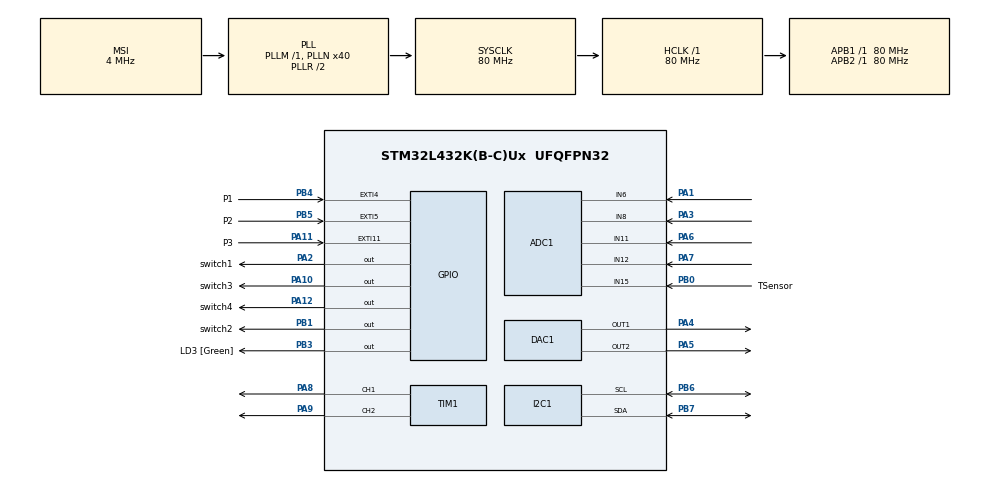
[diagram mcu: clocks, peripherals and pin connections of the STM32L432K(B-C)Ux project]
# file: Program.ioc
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ADC1.Channel-20\#ChannelRegularConversion=ADC_CHANNEL_6
ADC1.Channel-21\#ChannelRegularConversion=ADC_CHANNEL_8
ADC1.Channel-24\#ChannelRegularConversion=ADC_CHANNEL_11
ADC1.Channel-25\#ChannelRegularConversion=ADC_CHANNEL_12
ADC1.Channel-26\#ChannelRegularConversion=ADC_CHANNEL_15
ADC1.ClockPrescaler=ADC_CLOCK_ASYNC_DIV128
ADC1.ContinuousConvMode=ENABLE
ADC1.DMAContinuousRequests=ENABLE
ADC1.NbrOfConversion=5
ADC1.NbrOfConversionFlag=1
ADC1.OffsetNumber-20\#ChannelRegularConversion=ADC_OFFSET_NONE
ADC1.OffsetNumber-21\#ChannelRegularConversion=ADC_OFFSET_NONE
ADC1.OffsetNumber-24\#ChannelRegularConversion=ADC_OFFSET_NONE
ADC1.OffsetNumber-25\#ChannelRegularConversion=ADC_OFFSET_NONE
ADC1.OffsetNumber-26\#ChannelRegularConversion=ADC_OFFSET_NONE
ADC1.Rank-20\#ChannelRegularConversion=1
ADC1.Rank-21\#ChannelRegularConversion=2
ADC1.Rank-24\#ChannelRegularConversion=3
ADC1.Rank-25\#ChannelRegularConversion=4
ADC1.Rank-26\#ChannelRegularConversion=5
ADC1.SamplingTime-20\#ChannelRegularConversion=ADC_SAMPLETIME_247CYCLES_5
ADC1.SamplingTime-21\#ChannelRegularConversion=ADC_SAMPLETIME_247CYCLES_5
ADC1.SamplingTime-24\#ChannelRegularConversion=ADC_SAMPLETIME_247CYCLES_5
ADC1.SamplingTime-25\#ChannelRegularConversion=ADC_SAMPLETIME_247CYCLES_5
ADC1.SamplingTime-26\#ChannelRegularConversion=ADC_SAMPLETIME_640CYCLES_5
ADC1.master=1
DAC1.DAC_Channel-DAC_OUT2=DAC_CHANNEL_2
Dma.ADC1.0.Direction=DMA_PERIPH_TO_MEMORY
Dma.ADC1.0.Instance=DMA1_Channel1
Dma.ADC1.0.MemDataAlignment=DMA_MDATAALIGN_WORD
Dma.ADC1.0.MemInc=DMA_MINC_ENABLE
Dma.ADC1.0.Mode=DMA_CIRCULAR
Dma.ADC1.0.PeriphDataAlignment=DMA_PDATAALIGN_WORD
Dma.ADC1.0.PeriphInc=DMA_PINC_DISABLE
Dma.ADC1.0.Priority=DMA_PRIORITY_MEDIUM
Dma.Request0=ADC1
Mcu.Family=STM32L4
Mcu.Name=STM32L432K(B-C)Ux
Mcu.Package=UFQFPN32
NVIC.DMA1_Channel1_IRQn=true\:0\:0\:false\:false\:true\:false
NVIC.EXTI15_10_IRQn=true\:0\:0\:false\:false\:true\:true
NVIC.EXTI4_IRQn=true\:0\:0\:false\:false\:true\:true
NVIC.EXTI9_5_IRQn=true\:0\:0\:false\:false\:true\:true
NVIC.PriorityGroup=NVIC_PRIORITYGROUP_4
NVIC.TIM7_IRQn=true\:0\:0\:false\:false\:true\:true
PA0.GPIO_Label=MCO [High speed clock in]
PA0.Mode=HSE-External-Clock-Source-for-LittleOrca
PA0.Signal=RCC_CK_IN
PA1.Signal=ADCx_IN6
PA10.GPIO_Label=switch3
PA10.GPIO_PuPd=GPIO_PULLDOWN
PA10.Signal=GPIO_Output
PA11.GPIO_Label=P3
PA11.GPIO_ModeDefaultEXTI=GPIO_MODE_IT_FALLING
PA11.GPIO_PuPd=GPIO_PULLUP
PA11.Signal=GPXTI11
PA12.GPIO_Label=switch4
PA12.GPIO_PuPd=GPIO_PULLDOWN
PA12.Signal=GPIO_Output
PA13\ (JTMS-SWDIO).GPIO_Label=SWDIO
PA13\ (JTMS-SWDIO).Mode=Serial_Wire
PA13\ (JTMS-SWDIO).Signal=SYS_JTMS-SWDIO
PA14\ (JTCK-SWCLK).GPIO_Label=SWCLK
PA14\ (JTCK-SWCLK).Mode=Serial_Wire
PA14\ (JTCK-SWCLK).Signal=SYS_JTCK-SWCLK
PA2.GPIO_Label=switch1
PA2.Signal=GPIO_Output
PA3.Signal=ADCx_IN8
PA4.Signal=COMP_DAC11_group
PA5.Signal=COMP_DAC12_group
PA6.Signal=ADCx_IN11
PA7.Signal=ADCx_IN12
PA8.Signal=S_TIM1_CH1
PA9.Signal=S_TIM1_CH2
PB0.GPIO_Label=TSensor
PB0.Signal=ADCx_IN15
PB1.GPIO_Label=switch2
PB1.GPIO_PuPd=GPIO_PULLDOWN
PB1.Signal=GPIO_Output
PB3\ (JTDO-TRACESWO).GPIO_Label=LD3 [Green]
PB3\ (JTDO-TRACESWO).Signal=GPIO_Output
PB4\ (NJTRST).GPIO_Label=P1
PB4\ (NJTRST).GPIO_ModeDefaultEXTI=GPIO_MODE_IT_FALLING
PB4\ (NJTRST).GPIO_PuPd=GPIO_PULLUP
PB4\ (NJTRST).Signal=GPXTI4
PB5.GPIO_Label=P2
PB5.GPIO_ModeDefaultEXTI=GPIO_MODE_IT_FALLING
PB5.GPIO_PuPd=GPIO_PULLUP
PB5.Signal=GPXTI5
PB6.Mode=I2C
PB6.Signal=I2C1_SCL
PB7.Mode=I2C
PB7.Signal=I2C1_SDA
PC14-OSC32_IN\ (PC14).Mode=LSE-External-Oscillator
PC14-OSC32_IN\ (PC14).Signal=RCC_OSC32_IN
PC15-OSC32_OUT\ (PC15).Mode=LSE-External-Oscillator
PC15-OSC32_OUT\ (PC15).Signal=RCC_OSC32_OUT
ProjectManager.HeapSize=0x200
ProjectManager.StackSize=0x400
ProjectManager.TargetToolchain=TrueSTUDIO
RCC.ADCFreq_Value=32000000
RCC.AHBFreq_Value=80000000
RCC.APB1Freq_Value=80000000
RCC.APB1TimFreq_Value=80000000
RCC.APB2Freq_Value=80000000
RCC.APB2TimFreq_Value=80000000
RCC.CortexFreq_Value=80000000
RCC.HCLKFreq_Value=80000000
RCC.HSE_VALUE=8000000
RCC.HSI16_VALUE=16000000
RCC.HSI48_VALUE=48000000
RCC.HSI_VALUE=16000000
RCC.MSI_VALUE=4000000
RCC.PLLMUL=RCC_PLLMUL_4
RCC.PLLN=40
RCC.PLLSAI1N=16
RCC.SYSCLKFreq_VALUE=80000000
RCC.SYSCLKSource=RCC_SYSCLKSOURCE_PLLCLK
RCC.USBFreq_Value=32000000
RCC.VCOOutputFreq_Value=160000000
SH.ADCx_IN11.0=ADC1_IN11,IN11-Single-Ended
SH.ADCx_IN12.0=ADC1_IN12,IN12-Single-Ended
SH.ADCx_IN15.0=ADC1_IN15,IN15-Single-Ended
SH.ADCx_IN6.0=ADC1_IN6,IN6-Single-Ended
SH.ADCx_IN8.0=ADC1_IN8,IN8-Single-Ended
SH.COMP_DAC11_group.0=DAC1_OUT1,DAC_OUT1
SH.COMP_DAC12_group.0=DAC1_OUT2,DAC_OUT2
SH.S_TIM1_CH1.0=TIM1_CH1,PWM Generation1 CH1
SH.S_TIM1_CH2.0=TIM1_CH2,PWM Generation2 CH2
TIM1.Channel-PWM\ Generation1\ CH1=TIM_CHANNEL_1
TIM1.Channel-PWM\ Generation2\ CH2=TIM_CHANNEL_2
TIM7.Period=9
TIM7.Prescaler=7999
VP_TIM1_VS_ClockSourceINT.Mode=Internal
VP_TIM7_VS_ClockSourceINT.Mode=Enable_Timer
board=NUCLEO-L432KC

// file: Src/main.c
/* USER CODE BEGIN Header */
/**
  ******************************************************************************
  * @file           : main.c
  * @brief          : Main program body
  ******************************************************************************
  ** This notice applies to any and all portions of this file
  * that are not between comment pairs USER CODE BEGIN and
  * USER CODE END. Other portions of this file, whether
  * inserted by the user or by software development tools
  * are owned by their respective copyright owners.
  *
  * COPYRIGHT(c) 2019 STMicroelectronics
  *
  * Redistribution and use in source and binary forms, with or without modification,
  * are permitted provided that the following conditions are met:
  *   1. Redistributions of source code must retain the above copyright notice,
  *      this list of conditions and the following disclaimer.
  *   2. Redistributions in binary form must reproduce the above copyright notice,
  *      this list of conditions and the following disclaimer in the documentation
  *      and/or other materials provided with the distribution.
  *   3. Neither the name of STMicroelectronics nor the names of its contributors
  *      may be used to endorse or promote products derived from this software
  *      without specific prior written permission.
  *
  * THIS SOFTWARE IS PROVIDED BY THE COPYRIGHT HOLDERS AND CONTRIBUTORS "AS IS"
  * AND ANY EXPRESS OR IMPLIED WARRANTIES, INCLUDING, BUT NOT LIMITED TO, THE
  * IMPLIED WARRANTIES OF MERCHANTABILITY AND FITNESS FOR A PARTICULAR PURPOSE ARE
  * DISCLAIMED. IN NO EVENT SHALL THE COPYRIGHT HOLDER OR CONTRIBUTORS BE LIABLE
  * FOR ANY DIRECT, INDIRECT, INCIDENTAL, SPECIAL, EXEMPLARY, OR CONSEQUENTIAL
  * DAMAGES (INCLUDING, BUT NOT LIMITED TO, PROCUREMENT OF SUBSTITUTE GOODS OR
  * SERVICES; LOSS OF USE, DATA, OR PROFITS; OR BUSINESS INTERRUPTION) HOWEVER
  * CAUSED AND ON ANY THEORY OF LIABILITY, WHETHER IN CONTRACT, STRICT LIABILITY,
  * OR TORT (INCLUDING NEGLIGENCE OR OTHERWISE) ARISING IN ANY WAY OUT OF THE USE
  * OF THIS SOFTWARE, EVEN IF ADVISED OF THE POSSIBILITY OF SUCH DAMAGE.
  *
  ******************************************************************************
  */
/* USER CODE END Header */

#include "main.h"
#include "adc.h"
#include "dac.h"
#include "dma.h"
#include "i2c.h"
#include "tim.h"
#include "gpio.h"

/* USER CODE BEGIN Includes */
#include <string.h>
#include "HD44780.h"
#include "menu.h"
#include "lcd.h"
#include "menuPrograms.h"
#include "system.h"
#include "supplyTester.h"
/* USER CODE END Includes */

/* USER CODE BEGIN PV */
uint32_t adc[5];
/* USER CODE END PV */

void SystemClock_Config(void);

/* USER CODE BEGIN 0 */
void HAL_GPIO_EXTI_Callback(uint16_t GPIO_Pin){
	if(extiButtonIsEnable()){
		if(GPIO_Pin == P1_Pin){
			leftButtonHandle();
		}
		else if(GPIO_Pin == P3_Pin){
			rightButtonHandle();
		}
		else if(GPIO_Pin == P2_Pin){
			okButtonHandle();
		}
	}
}
void HAL_TIM_PeriodElapsedCallback(TIM_HandleTypeDef *htim){
	if(htim->Instance == TIM7){
		enableExtiButtonAfterTime(MS_TO_ENABLE_EXTI);
		systemTimeHandle();
	}
}

/* USER CODE END 0 */

int main(void)
{

  /* MCU Configuration--------------------------------------------------------*/

  /* Reset of all peripherals, Initializes the Flash interface and the Systick. */
  HAL_Init();

  /* Configure the system clock */
  SystemClock_Config();

  /* Initialize all configured peripherals */
  MX_GPIO_Init();
  MX_DMA_Init();
  MX_I2C1_Init();
  MX_ADC1_Init();
  MX_DAC1_Init();
  MX_TIM7_Init();
  MX_TIM1_Init();
  /* USER CODE BEGIN 2 */
  supplyTesterInitStruct();
  menuInit();
  LCD_Initalize();
  LCD_GoTo(0, 0);
  HAL_ADC_Start_DMA(&hadc1, adc, 5);
  HAL_TIM_Base_Start_IT(&htim7);
  /* USER CODE END 2 */

  /* Infinite loop */
  /* USER CODE BEGIN WHILE */
  while (1)
  {
	  switch(getCurrentChosenProgram()){
	  case startMenu:
		  startProgram();
		  break;
	  case workMenu:
		  workProgram();
		  break;
	  case serviceMenu:
		  servisProgram();
		  break;
	  case ADCMenu:
		  ADCProgram();
		  break;
	  case generatePWMMenu:
		  generatePWMProgram();
		  break;
	  case relayTestMenu:
		  relayTestProgram();
		  break;
	  default:
		  break;
	  }

	  printCurrentView();
	  HAL_Delay(1);

    /* USER CODE END WHILE */

  }
}

void SystemClock_Config(void)
{
  RCC_OscInitTypeDef RCC_OscInitStruct = {0};
  RCC_ClkInitTypeDef RCC_ClkInitStruct = {0};
  RCC_PeriphCLKInitTypeDef PeriphClkInit = {0};

  /**Configure LSE Drive Capability
  */
  HAL_PWR_EnableBkUpAccess();
  __HAL_RCC_LSEDRIVE_CONFIG(RCC_LSEDRIVE_LOW);
  /**Initializes the CPU, AHB and APB busses clocks
  */
  RCC_OscInitStruct.OscillatorType = RCC_OSCILLATORTYPE_LSE|RCC_OSCILLATORTYPE_MSI;
  RCC_OscInitStruct.LSEState = RCC_LSE_ON;
  RCC_OscInitStruct.MSIState = RCC_MSI_ON;
  RCC_OscInitStruct.MSICalibrationValue = 0;
  RCC_OscInitStruct.MSIClockRange = RCC_MSIRANGE_6;
  RCC_OscInitStruct.PLL.PLLState = RCC_PLL_ON;
  RCC_OscInitStruct.PLL.PLLSource = RCC_PLLSOURCE_MSI;
  RCC_OscInitStruct.PLL.PLLM = 1;
  RCC_OscInitStruct.PLL.PLLN = 40;
  RCC_OscInitStruct.PLL.PLLP = RCC_PLLP_DIV7;
  RCC_OscInitStruct.PLL.PLLQ = RCC_PLLQ_DIV2;
  RCC_OscInitStruct.PLL.PLLR = RCC_PLLR_DIV2;
  if (HAL_RCC_OscConfig(&RCC_OscInitStruct) != HAL_OK)
  {
    Error_Handler();
  }
  /**Initializes the CPU, AHB and APB busses clocks
  */
  RCC_ClkInitStruct.ClockType = RCC_CLOCKTYPE_HCLK|RCC_CLOCKTYPE_SYSCLK
                              |RCC_CLOCKTYPE_PCLK1|RCC_CLOCKTYPE_PCLK2;
  RCC_ClkInitStruct.SYSCLKSource = RCC_SYSCLKSOURCE_PLLCLK;
  RCC_ClkInitStruct.AHBCLKDivider = RCC_SYSCLK_DIV1;
  RCC_ClkInitStruct.APB1CLKDivider = RCC_HCLK_DIV1;
  RCC_ClkInitStruct.APB2CLKDivider = RCC_HCLK_DIV1;

  if (HAL_RCC_ClockConfig(&RCC_ClkInitStruct, FLASH_LATENCY_4) != HAL_OK)
  {
    Error_Handler();
  }
  PeriphClkInit.PeriphClockSelection = RCC_PERIPHCLK_I2C1|RCC_PERIPHCLK_ADC;
  PeriphClkInit.I2c1ClockSelection = RCC_I2C1CLKSOURCE_PCLK1;
  PeriphClkInit.AdcClockSelection = RCC_ADCCLKSOURCE_PLLSAI1;
  PeriphClkInit.PLLSAI1.PLLSAI1Source = RCC_PLLSOURCE_MSI;
  PeriphClkInit.PLLSAI1.PLLSAI1M = 1;
  PeriphClkInit.PLLSAI1.PLLSAI1N = 16;
  PeriphClkInit.PLLSAI1.PLLSAI1P = RCC_PLLP_DIV7;
  PeriphClkInit.PLLSAI1.PLLSAI1Q = RCC_PLLQ_DIV2;
  PeriphClkInit.PLLSAI1.PLLSAI1R = RCC_PLLR_DIV2;
  PeriphClkInit.PLLSAI1.PLLSAI1ClockOut = RCC_PLLSAI1_ADC1CLK;
  if (HAL_RCCEx_PeriphCLKConfig(&PeriphClkInit) != HAL_OK)
  {
    Error_Handler();
  }
  /**Configure the main internal regulator output voltage
  */
  if (HAL_PWREx_ControlVoltageScaling(PWR_REGULATOR_VOLTAGE_SCALE1) != HAL_OK)
  {
    Error_Handler();
  }
  /**Enable MSI Auto calibration
  */
  HAL_RCCEx_EnableMSIPLLMode();
}

void Error_Handler(void)
{
}

/************************ (C) COPYRIGHT STMicroelectronics *****END OF FILE****/
